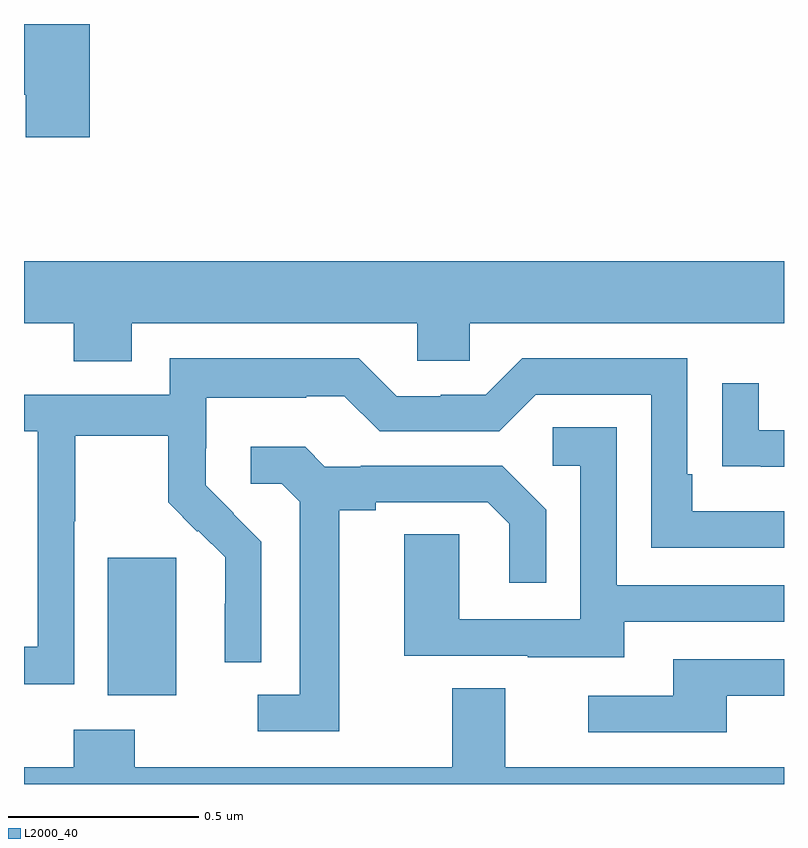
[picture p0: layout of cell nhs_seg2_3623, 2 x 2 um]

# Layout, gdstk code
import gdstk
lib = gdstk.Library(unit=1e-6, precision=1e-09)
def R(c, l, rs):  # rectangles x0, y0, x1, y1
    for r in rs: c.add(gdstk.rectangle(r[:2], r[2:], *l))
def P(c, l, *ps):  # polygons
    for p in ps: c.add(gdstk.Polygon(p, *l))
L2000_40 = (2000, 40)

nhs_seg2_3623 = lib.new_cell('nhs_seg2_3623')
R(nhs_seg2_3623, L2000_40, [(156.221,604.034,156.4,604.395)])
P(nhs_seg2_3623, L2000_40, [(156.173,605.8),(156,605.8),(156,605.614),(156.005,605.614),(156.005,605.502),(156.173,605.502)],
  [(156.283,605.012),(157.035,605.012),(157.035,604.914),(157.173,604.914),(157.173,605.012),(158,605.012),(158,605.176),(156,605.176),(156,605.012),(156.131,605.012),(156.131,604.913),(156.283,604.913)],
  [(156.132,604.492),(156.135,604.492),(156.135,604.716),(156.379,604.716),(156.379,604.541),(156.456,604.464),(156.459,604.467),(156.53,604.397),(156.53,604.274),(156.528,604.274),(156.528,604.12),(156.624,604.12),(156.624,604.438),(156.551,604.511),(156.552,604.512),(156.478,604.586),(156.478,604.683),(156.48,604.683),(156.48,604.817),(156.743,604.817),(156.743,604.821),(156.843,604.821),(156.936,604.728),(157.251,604.728),(157.347,604.824),(157.65,604.824),(157.65,604.422),(158,604.422),(158,604.518),(157.759,604.518),(157.759,604.615),(157.746,604.615),(157.746,604.92),(157.311,604.92),(157.215,604.824),(157.097,604.824),(157.097,604.821),(156.981,604.821),(156.881,604.921),(156.384,604.921),(156.384,604.824),(156,604.824),(156,604.728),(156.036,604.728),(156.036,604.161),(156,604.161),(156,604.063),(156.132,604.063)],
  [(158,604.731),(157.933,604.731),(157.933,604.855),(157.837,604.855),(157.837,604.636),(157.939,604.636),(157.939,604.635),(158,604.635)],
  [(157.579,604.227),(158,604.227),(158,604.323),(157.56,604.323),(157.56,604.739),(157.392,604.739),(157.392,604.638),(157.464,604.638),(157.464,604.233),(157.146,604.233),(157.146,604.457),(157.001,604.457),(157.001,604.137),(157.325,604.137),(157.325,604.133),(157.579,604.133)],
  [(156.829,604.52),(156.925,604.52),(156.925,604.542),(157.22,604.542),(157.277,604.485),(157.277,604.329),(157.374,604.329),(157.374,604.522),(157.258,604.638),(156.886,604.638),(156.886,604.635),(156.792,604.635),(156.74,604.687),(156.597,604.687),(156.597,604.59),(156.678,604.59),(156.725,604.543),(156.725,604.035),(156.615,604.035),(156.615,603.939),(156.829,603.939)],
  [(157.849,604.032),(158,604.032),(158,604.128),(157.709,604.128),(157.709,604.032),(157.485,604.032),(157.485,603.936),(157.849,603.936)],
  [(158,603.844),(157.267,603.844),(157.267,604.052),(157.127,604.052),(157.127,603.844),(156.291,603.844),(156.291,603.943),(156.131,603.943),(156.131,603.844),(156,603.844),(156,603.8),(158,603.8)])

lib.write_gds('nhs_seg2_3623.gds')
